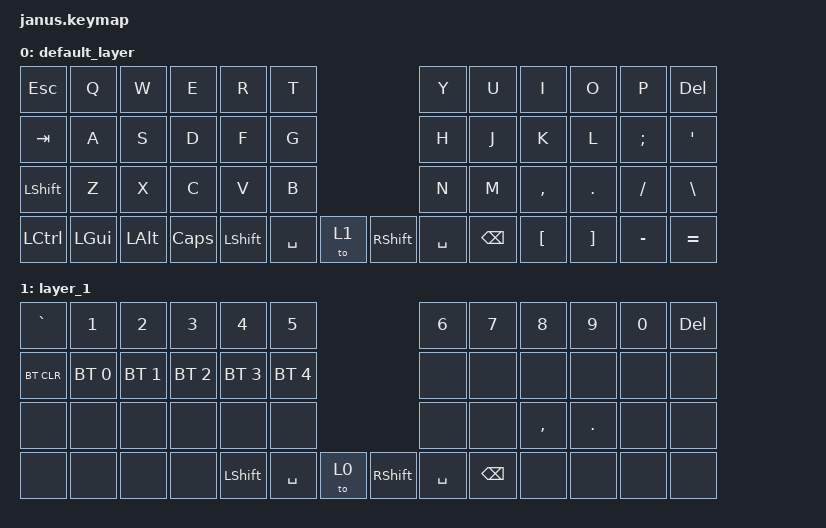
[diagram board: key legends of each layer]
#include <behaviors.dtsi>
#include <dt-bindings/zmk/bt.h>
#include <dt-bindings/zmk/keys.h>

/ {
    keymap {
        compatible = "zmk,keymap";

        default_layer {
            bindings = <
&kp ESCAPE      &kp Q     &kp W     &kp E     &kp R       &kp T                         &kp Y      &kp U     &kp I      &kp O     &kp P      &kp DEL
&kp TAB         &kp A     &kp S     &kp D     &kp F       &kp G                         &kp H      &kp J     &kp K      &kp L     &kp SEMI   &kp SQT
&kp LEFT_SHIFT  &kp Z     &kp X     &kp C     &kp V       &kp B                         &kp N      &kp M     &kp COMMA  &kp DOT   &kp FSLH   &kp BSLH
&kp LCTRL       &kp LGUI  &kp LALT  &kp CAPS  &kp LSHIFT  &kp SPACE  &to 1  &kp RSHIFT  &kp SPACE  &kp BSPC  &kp LBKT   &kp RBKT  &kp MINUS  &kp EQUAL
            >;
        };

        layer_1 {
            bindings = <
&kp GRAVE   &kp N1        &kp N2        &kp N3        &kp N4        &kp N5                          &kp N6     &kp N7    &kp N8     &kp N9   &kp N0  &kp DEL
&bt BT_CLR  &bt BT_SEL 0  &bt BT_SEL 1  &bt BT_SEL 2  &bt BT_SEL 3  &bt BT_SEL 4                    &none      &none     &none      &none    &none   &none
&none       &none         &none         &none         &none         &none                           &none      &none     &kp COMMA  &kp DOT  &none   &none
&none       &none         &none         &none         &kp LSHIFT    &kp SPACE     &to 0  &kp RSHFT  &kp SPACE  &kp BSPC  &none      &none    &none   &none
            >;
        };
    };
};
